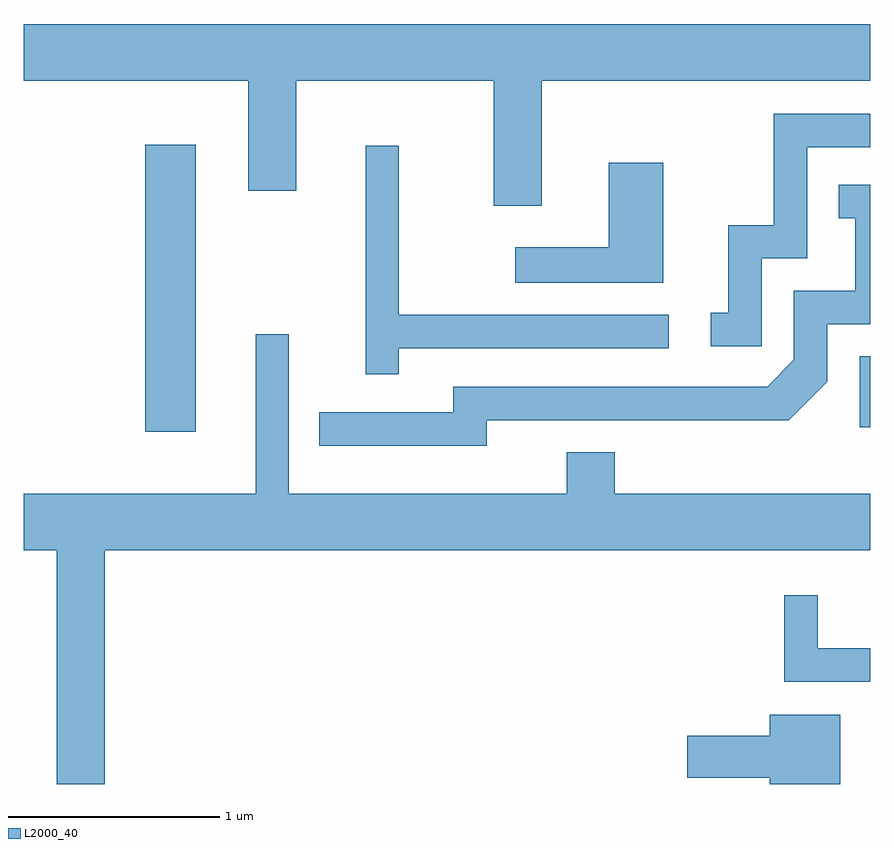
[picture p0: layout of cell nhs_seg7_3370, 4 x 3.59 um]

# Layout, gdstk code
import gdstk
lib = gdstk.Library(unit=1e-6, precision=1e-09)
def R(c, l, rs):  # rectangles x0, y0, x1, y1
    for r in rs: c.add(gdstk.rectangle(r[:2], r[2:], *l))
def P(c, l, *ps):  # polygons
    for p in ps: c.add(gdstk.Polygon(p, *l))
L2000_40 = (2000, 40)

nhs_seg7_3370 = lib.new_cell('nhs_seg7_3370')
R(nhs_seg7_3370, L2000_40, [(288.186,1785.916,288.424,1787.274), (291.561,1785.938,291.611,1786.274)])
P(nhs_seg7_3370, L2000_40, [(290.059,1787.576),(291.611,1787.576),(291.611,1787.844),(287.611,1787.844),(287.611,1787.576),(288.671,1787.576),(288.671,1787.056),(288.899,1787.056),(288.899,1787.576),(289.831,1787.576),(289.831,1786.986),(290.059,1786.986)],
  [(291.099,1786.736),(291.314,1786.736),(291.314,1787.261),(291.611,1787.261),(291.611,1787.419),(291.156,1787.419),(291.156,1786.894),(290.941,1786.894),(290.941,1786.479),(290.858,1786.479),(290.858,1786.321),(291.099,1786.321)],
  [(289.384,1786.311),(290.658,1786.311),(290.658,1786.469),(289.384,1786.469),(289.384,1787.268),(289.226,1787.268),(289.226,1786.188),(289.384,1786.188)],
  [(290.634,1787.189),(290.376,1787.189),(290.376,1786.789),(289.933,1786.789),(289.933,1786.621),(290.634,1786.621)],
  [(289.799,1785.971),(291.227,1785.971),(291.409,1786.154),(291.409,1786.426),(291.611,1786.426),(291.611,1787.084),(291.463,1787.084),(291.463,1786.926),(291.541,1786.926),(291.541,1786.584),(291.251,1786.584),(291.251,1786.257),(291.124,1786.129),(289.641,1786.129),(289.641,1786.009),(289.008,1786.009),(289.008,1785.851),(289.799,1785.851)],
  [(287.994,1785.356),(291.611,1785.356),(291.611,1785.624),(290.404,1785.624),(290.404,1785.819),(290.176,1785.819),(290.176,1785.624),(288.864,1785.624),(288.864,1786.378),(288.706,1786.378),(288.706,1785.624),(287.611,1785.624),(287.611,1785.356),(287.766,1785.356),(287.766,1784.252),(287.994,1784.252)],
  [(291.611,1784.894),(291.364,1784.894),(291.364,1785.143),(291.206,1785.143),(291.206,1784.736),(291.611,1784.736)],
  [(291.469,1784.579),(291.136,1784.579),(291.136,1784.479),(290.746,1784.479),(290.746,1784.281),(291.136,1784.281),(291.136,1784.252),(291.469,1784.252)])

lib.write_gds('nhs_seg7_3370.gds')
